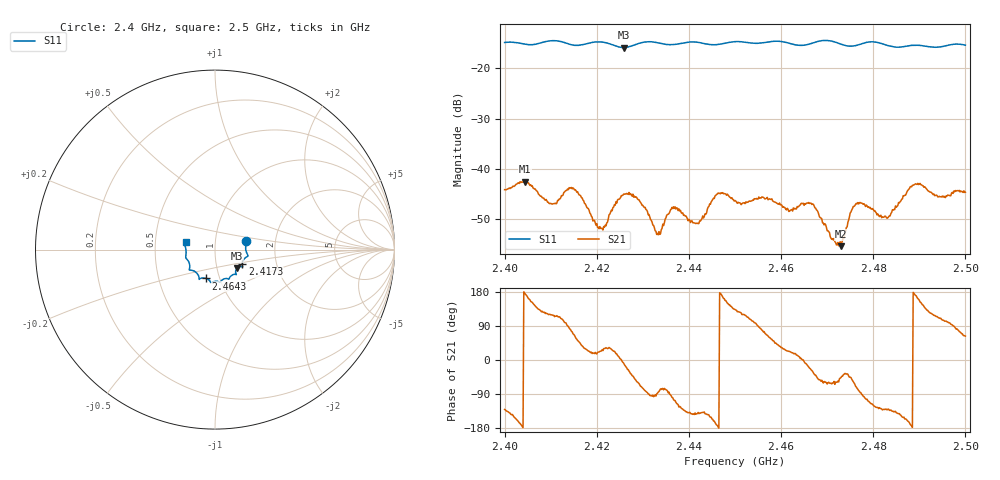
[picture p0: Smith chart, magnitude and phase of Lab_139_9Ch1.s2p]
# Hz S RI R 50
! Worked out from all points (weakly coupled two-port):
!   601 points, 2.4 GHz to 2.5 GHz, reference 50 ohm
!   highest |S21| = -42.49 dB at 2.4043 GHz (marker M1); lowest = -55.3 dB at 2.473 GHz (marker M2)
!   lowest |S11| = -15.9 dB at 2.4258 GHz (marker M3), VSWR 1.38, Z = 62.3 - j13.3 ohm
!   |S11| at or under -10 dB: start of sweep to end of sweep
!   S12 and S22 are empty: the file has one direction only
!   S11 on the Smith chart (normalised r, x): 2.4 GHz: 1.41, +0.14; 2.4173 GHz: 1.34, -0.23; 2.4643 GHz: 0.86, -0.28; 2.5 GHz: 0.72, +0.06
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2.4e9  0.1732 0.0486  -0.00405 -0.00474  0 0  0 0
2.404333e9  0.1717 0.0223  -0.00749 0.00045  0 0  0 0
2.41e9  0.1838 -0.0332  -0.00222 0.00398  0 0  0 0
2.4145e9  0.1629 -0.0514  0.0016 0.00635  0 0  0 0
2.416667e9  0.1526 -0.0746  0.00403 0.00329  0 0  0 0
2.417333e9  0.1518 -0.082  0.00391 0.00235  0 0  0 0
2.421e9  0.1538 -0.0971  0.00236 0.00104  0 0  0 0
2.425833e9  0.1219 -0.1037  0.00558 -0.000811  0 0  0 0
2.429e9  0.1155 -0.1316  0.00246 -0.00431  0 0  0 0
2.433333e9  0.113 -0.1375  0.000197 -0.00222  0 0  0 0
2.4365e9  0.0903 -0.1456  -0.00068 -0.00399  0 0  0 0
2.441667e9  0.0755 -0.1646  -0.00228 -0.00179  0 0  0 0
2.446167e9  0.0464 -0.1653  -0.00561 -0.000692  0 0  0 0
2.45e9  0.0287 -0.181  -0.00332 0.00355  0 0  0 0
2.464333e9  -0.0499 -0.1606  0.00454 0.00036  0 0  0 0
2.466667e9  -0.0759 -0.1592  0.00393 -0.00208  0 0  0 0
2.473e9  -0.0913 -0.1469  0.00119 -0.00124  0 0  0 0
2.476667e9  -0.1232 -0.1167  0.00101 -0.00453  0 0  0 0
2.483333e9  -0.1405 -0.09  -0.00214 -0.00258  0 0  0 0
2.489167e9  -0.1627 -0.0449  -0.00703 0.00118  0 0  0 0
2.494333e9  -0.162 0.00233  -0.00192 0.00501  0 0  0 0
2.5e9  -0.1636 0.0425  0.00267 0.00525  0 0  0 0
